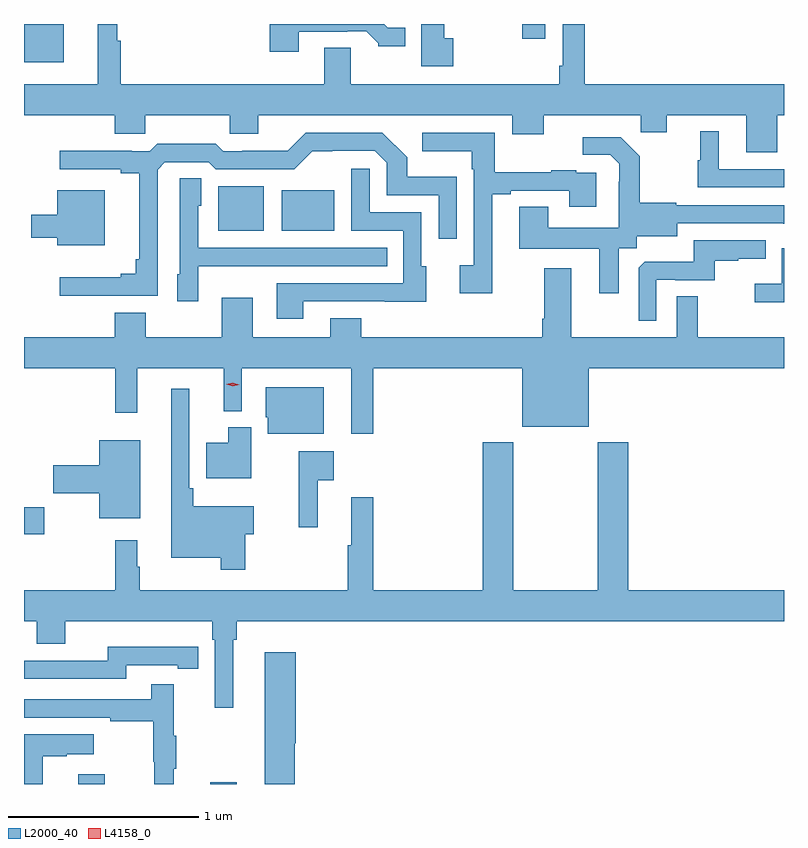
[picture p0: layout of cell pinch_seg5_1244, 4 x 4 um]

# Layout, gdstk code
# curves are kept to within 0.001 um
import gdstk
lib = gdstk.Library(unit=1e-6, precision=1e-09)
def R(c, l, rs):  # rectangles x0, y0, x1, y1
    for r in rs: c.add(gdstk.rectangle(r[:2], r[2:], *l))
def P(c, l, *ps):  # polygons
    for p in ps: c.add(gdstk.Polygon(p, *l))
L2000_40 = (2000, 40)
L4158_0 = (4158, 0)

pinch_seg5_1244 = lib.new_cell('pinch_seg5_1244')
R(pinch_seg5_1244, L2000_40, [(481.595,833.26,481.735,833.311), (482.291,833.26,482.431,833.269), (481.31,834.574,481.417,834.716), (482.333,836.171,482.572,836.407), (482.666,836.171,482.944,836.386), (481.31,837.059,481.519,837.26), (483.932,837.183,484.054,837.26)])
P(pinch_seg5_1244, L2000_40, [(485.275,836.78),(485.31,836.78),(485.31,836.944),(484.262,836.944),(484.262,837.26),(484.146,837.26),(484.146,837.04),(484.126,837.04),(484.126,836.944),(483.031,836.944),(483.031,837.134),(482.891,837.134),(482.891,836.944),(481.819,836.944),(481.819,837.173),(481.801,837.173),(481.801,837.26),(481.697,837.26),(481.697,836.944),(481.31,836.944),(481.31,836.78),(481.787,836.78),(481.787,836.682),(481.947,836.682),(481.947,836.78),(482.392,836.78),(482.392,836.682),(482.542,836.682),(482.542,836.78),(483.881,836.78),(483.881,836.681),(484.045,836.681),(484.045,836.78),(484.555,836.78),(484.555,836.69),(484.693,836.69),(484.693,836.78),(485.111,836.78),(485.111,836.586),(485.275,836.586)],
  [(483.57,837.186),(483.523,837.186),(483.523,837.26),(483.401,837.26),(483.401,837.038),(483.57,837.038)],
  [(482.755,837.219),(483.011,837.219),(483.011,837.222),(483.11,837.222),(483.174,837.158),(483.174,837.143),(483.316,837.143),(483.316,837.24),(483.225,837.24),(483.205,837.26),(482.603,837.26),(482.603,837.114),(482.755,837.114)],
  [(485.31,836.496),(484.966,836.496),(484.966,836.695),(484.868,836.695),(484.868,836.544),(484.857,836.544),(484.857,836.4),(485.31,836.4)],
  [(483.775,836.364),(483.871,836.364),(483.871,836.382),(484.181,836.382),(484.181,836.298),(484.321,836.298),(484.321,836.478),(484.217,836.478),(484.217,836.491),(484.085,836.491),(484.085,836.48),(483.787,836.48),(483.787,836.688),(483.405,836.688),(483.405,836.591),(483.666,836.591),(483.666,836.495),(483.678,836.495),(483.678,835.99),(483.603,835.99),(483.603,835.842),(483.775,835.842)],
  [(482.013,836.493),(482.052,836.532),(482.283,836.532),(482.319,836.496),(482.733,836.496),(482.828,836.591),(483.156,836.592),(483.219,836.529),(483.219,836.358),(483.492,836.358),(483.492,836.13),(483.588,836.13),(483.588,836.455),(483.327,836.455),(483.327,836.558),(483.196,836.688),(482.793,836.688),(482.699,836.594),(482.458,836.594),(482.458,836.589),(482.358,836.589),(482.319,836.629),(482.011,836.629),(481.971,836.589),(481.877,836.589),(481.877,836.594),(481.497,836.594),(481.497,836.496),(481.82,836.496),(481.82,836.474),(481.916,836.474),(481.916,836.023),(481.897,836.023),(481.897,835.946),(481.82,835.946),(481.82,835.927),(481.497,835.927),(481.497,835.83),(482.013,835.83)],
  [(484.441,836.08),(484.536,836.08),(484.536,836.144),(484.747,836.144),(484.747,836.211),(485.31,836.21),(485.31,836.307),(484.743,836.307),(484.743,836.32),(484.551,836.32),(484.551,836.565),(484.451,836.665),(484.251,836.665),(484.251,836.571),(484.395,836.571),(484.442,836.524),(484.442,836.429),(484.44,836.429),(484.44,836.188),(484.069,836.188),(484.069,836.297),(483.917,836.297),(483.917,836.078),(484.337,836.078),(484.337,835.842),(484.441,835.842)],
  [(482.779,835.8),(483.209,835.8),(483.209,835.799),(483.427,835.799),(483.427,835.986),(483.402,835.986),(483.402,836.268),(483.129,836.268),(483.129,836.497),(483.033,836.497),(483.033,836.172),(483.306,836.172),(483.306,835.896),(482.639,835.896),(482.639,835.71),(482.779,835.71)],
  [(482.226,835.985),(482.543,835.985),(482.543,835.986),(483.221,835.986),(483.221,836.082),(482.226,836.082),(482.226,836.304),(482.242,836.304),(482.242,836.447),(482.13,836.447),(482.13,835.944),(482.117,835.944),(482.117,835.8),(482.226,835.8)],
  [(481.735,836.386),(481.484,836.386),(481.484,836.257),(481.347,836.257),(481.347,836.135),(481.484,836.135),(481.484,836.096),(481.735,836.096)],
  [(484.638,835.914),(484.738,835.914),(484.738,835.911),(484.946,835.911),(484.946,836.013),(485.069,836.013),(485.069,836.024),(485.213,836.024),(485.213,836.121),(484.836,836.121),(484.836,836.009),(484.577,836.009),(484.545,835.977),(484.545,835.697),(484.638,835.697)],
  [(485.31,836.079),(485.298,836.079),(485.298,835.894),(485.157,835.894),(485.157,835.796),(485.31,835.796)],
  [(483.149,835.448),(483.932,835.448),(483.932,835.139),(484.282,835.139),(484.282,835.448),(485.31,835.448),(485.31,835.612),(484.855,835.612),(484.855,835.826),(484.746,835.826),(484.746,835.612),(484.189,835.612),(484.189,835.975),(484.049,835.975),(484.049,835.708),(484.037,835.708),(484.037,835.612),(483.085,835.612),(483.085,835.711),(482.921,835.711),(482.921,835.612),(482.515,835.612),(482.515,835.819),(482.351,835.819),(482.351,835.612),(481.951,835.612),(481.951,835.741),(481.787,835.741),(481.787,835.612),(481.31,835.612),(481.31,835.448),(481.789,835.448),(481.789,835.215),(481.907,835.215),(481.907,835.448),(482.36,835.448),(482.36,835.223),(482.457,835.223),(482.457,835.448),(483.032,835.448),(483.032,835.104),(483.149,835.104)],
  [(482.887,835.348),(482.582,835.348),(482.582,835.191),(482.594,835.191),(482.594,835.103),(482.887,835.103)],
  [(482.474,834.574),(482.518,834.574),(482.518,834.721),(482.201,834.721),(482.201,834.817),(482.181,834.817),(482.181,835.339),(482.084,835.339),(482.084,834.452),(482.346,834.452),(482.346,834.387),(482.474,834.387)],
  [(482.506,835.138),(482.384,835.138),(482.384,835.057),(482.27,835.057),(482.27,834.869),(482.506,834.869)],
  [(481.921,835.069),(481.706,835.069),(481.706,834.938),(481.464,834.938),(481.464,834.791),(481.706,834.791),(481.706,834.659),(481.921,834.659)],
  [(481.906,834.404),(481.906,834.544),(481.789,834.544),(481.789,834.28),(481.31,834.28),(481.31,834.116),(481.376,834.116),(481.376,833.999),(481.528,833.999),(481.528,834.116),(482.3,834.116),(482.3,834.02),(482.313,834.02),(482.313,833.661),(482.41,833.661),(482.41,834.02),(482.429,834.02),(482.429,834.116),(485.31,834.116),(485.31,834.28),(484.49,834.28),(484.49,835.06),(484.33,835.06),(484.33,834.28),(483.885,834.28),(483.885,835.06),(483.725,835.06),(483.725,834.28),(483.149,834.28),(483.149,834.769),(483.032,834.769),(483.032,834.516),(483.013,834.516),(483.013,834.28),(481.918,834.28),(481.918,834.404)],
  [(482.855,834.86),(482.941,834.86),(482.941,835.012),(482.755,835.012),(482.755,834.612),(482.855,834.612)],
  [(481.848,833.886),(482.12,833.886),(482.12,833.866),(482.228,833.866),(482.228,833.982),(482.12,833.982),(482.12,833.983),(481.752,833.983),(481.752,833.91),(481.31,833.91),(481.31,833.814),(481.848,833.814)],
  [(482.735,833.475),(482.74,833.475),(482.74,833.953),(482.576,833.953),(482.576,833.26),(482.735,833.26)],
  [(482.099,833.339),(482.11,833.339),(482.11,833.513),(482.099,833.513),(482.099,833.785),(481.981,833.785),(481.981,833.706),(481.31,833.706),(481.31,833.61),(481.765,833.61),(481.765,833.59),(481.989,833.59),(481.989,833.376),(481.996,833.376),(481.996,833.26),(482.099,833.26)],
  [(481.408,833.407),(481.535,833.407),(481.535,833.417),(481.678,833.417),(481.678,833.521),(481.31,833.521),(481.31,833.26),(481.408,833.26)])
P(pinch_seg5_1244, L4158_0, [(482.409,835.353),(482.374,835.363),(482.374,835.363),(482.374,835.363),(482.409,835.373),(482.444,835.362),(482.444,835.362),(482.444,835.362)])

lib.write_gds('pinch_seg5_1244.gds')
